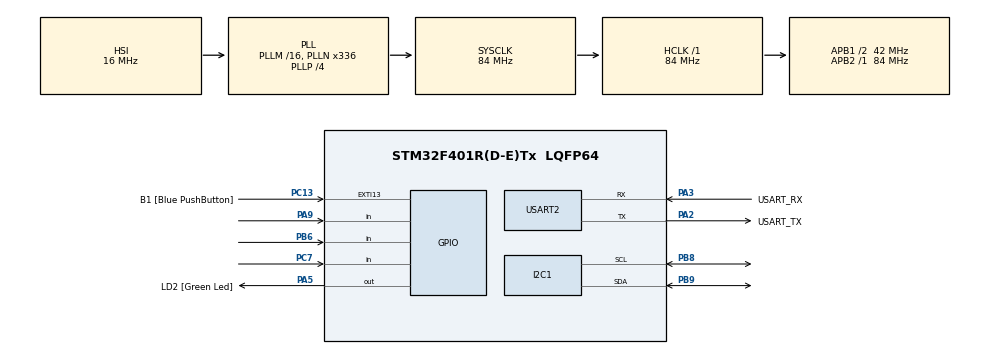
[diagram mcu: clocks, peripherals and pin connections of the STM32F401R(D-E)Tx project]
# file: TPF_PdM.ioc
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Mcu.Family=STM32F4
Mcu.Name=STM32F401R(D-E)Tx
Mcu.Package=LQFP64
NVIC.PriorityGroup=NVIC_PRIORITYGROUP_0
NVIC.USART2_IRQn=true\:0\:0\:false\:false\:true\:true\:true\:true
PA13.GPIO_Label=TMS
PA13.Mode=Serial_Wire
PA13.Signal=SYS_JTMS-SWDIO
PA14.GPIO_Label=TCK
PA14.Mode=Serial_Wire
PA14.Signal=SYS_JTCK-SWCLK
PA2.GPIO_Label=USART_TX
PA2.GPIO_Mode=GPIO_MODE_AF_PP
PA2.GPIO_PuPd=GPIO_NOPULL
PA2.GPIO_Speed=GPIO_SPEED_FREQ_LOW
PA2.Mode=Asynchronous
PA2.Signal=USART2_TX
PA3.GPIO_Label=USART_RX
PA3.GPIO_Mode=GPIO_MODE_AF_PP
PA3.GPIO_PuPd=GPIO_NOPULL
PA3.GPIO_Speed=GPIO_SPEED_FREQ_LOW
PA3.Mode=Asynchronous
PA3.Signal=USART2_RX
PA5.GPIO_Label=LD2 [Green Led]
PA5.GPIO_Mode=GPIO_MODE_OUTPUT_PP
PA5.GPIO_PuPd=GPIO_NOPULL
PA5.GPIO_Speed=GPIO_SPEED_FREQ_LOW
PA5.Signal=GPIO_Output
PA9.GPIO_PuPd=GPIO_PULLUP
PA9.Signal=GPIO_Input
PB3.GPIO_Label=SWO
PB3.Signal=SYS_JTDO-SWO
PB6.GPIO_PuPd=GPIO_PULLUP
PB6.Signal=GPIO_Input
PB8.Mode=I2C
PB8.Signal=I2C1_SCL
PB9.Mode=I2C
PB9.Signal=I2C1_SDA
PC13-ANTI_TAMP.GPIO_Label=B1 [Blue PushButton]
PC13-ANTI_TAMP.GPIO_ModeDefaultEXTI=GPIO_MODE_IT_FALLING
PC13-ANTI_TAMP.GPIO_PuPd=GPIO_NOPULL
PC13-ANTI_TAMP.Signal=GPXTI13
PC14-OSC32_IN.Mode=LSE-External-Oscillator
PC14-OSC32_IN.Signal=RCC_OSC32_IN
PC15-OSC32_OUT.Mode=LSE-External-Oscillator
PC15-OSC32_OUT.Signal=RCC_OSC32_OUT
PC7.GPIO_PuPd=GPIO_PULLUP
PC7.Signal=GPIO_Input
PH0\ -\ OSC_IN.Mode=HSE-External-Clock-Source
PH0\ -\ OSC_IN.Signal=RCC_OSC_IN
PH1\ -\ OSC_OUT.Mode=HSE-External-Clock-Source
PH1\ -\ OSC_OUT.Signal=RCC_OSC_OUT
ProjectManager.HeapSize=0x200
ProjectManager.StackSize=0x400
ProjectManager.TargetToolchain=STM32CubeIDE
RCC.48MHZClocksFreq_Value=48000000
RCC.AHBFreq_Value=84000000
RCC.APB1CLKDivider=RCC_HCLK_DIV2
RCC.APB1Freq_Value=42000000
RCC.APB1TimFreq_Value=84000000
RCC.APB2Freq_Value=84000000
RCC.APB2TimFreq_Value=84000000
RCC.CortexFreq_Value=84000000
RCC.HCLKFreq_Value=84000000
RCC.HSE_VALUE=8000000
RCC.HSI_VALUE=16000000
RCC.PLLN=336
RCC.PLLP=RCC_PLLP_DIV4
RCC.PLLQ=7
RCC.SYSCLKFreq_VALUE=84000000
RCC.SYSCLKSource=RCC_SYSCLKSOURCE_PLLCLK
RCC.VCOOutputFreq_Value=336000000
USART2.VirtualMode=VM_ASYNC
board=NUCLEO-F401RE

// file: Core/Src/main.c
/* USER CODE BEGIN Header */
/**
  ******************************************************************************
  * @file           : main.c
  * @brief          : Main program body
  ******************************************************************************
  * @attention
  *
  * Copyright (c) 2023 STMicroelectronics.
  * All rights reserved.
  *
  * This software is licensed under terms that can be found in the LICENSE file
  * in the root directory of this software component.
  * If no LICENSE file comes with this software, it is provided AS-IS.
  *
  ******************************************************************************
  */
/* USER CODE END Header */
#include "main.h"
#include "API_SSD1306.h"
#include "API_chronos.h"

I2C_HandleTypeDef hi2c1;

UART_HandleTypeDef huart2;

/* USER CODE BEGIN PV */
debounceButton_t btn1, btn2, btn3;  //Declaración de los botones
chronosState_t chronosState;
/* USER CODE END PV */

void SystemClock_Config(void);
static void MX_GPIO_Init(void);
static void MX_USART2_UART_Init(void);
static void MX_I2C1_Init(void);

int main(void)
{

  /* MCU Configuration--------------------------------------------------------*/

  /* Reset of all peripherals, Initializes the Flash interface and the Systick. */
  HAL_Init();

  /* Configure the system clock */
  SystemClock_Config();

  /* Initialize all configured peripherals */
  MX_GPIO_Init();
  MX_USART2_UART_Init();
  MX_I2C1_Init();

	  /* USER CODE BEGIN 2 */

btn1.pin = GPIO_PIN_9; //D8
btn2.pin = GPIO_PIN_7; //D9
btn3.pin = GPIO_PIN_6; //D10
btn1.port = GPIOA;
btn2.port = GPIOC;
btn3.port = GPIOB;

debounceFSM_init(&btn1);
debounceFSM_init(&btn2);
debounceFSM_init(&btn3);
chronosFSM_init();

// Initialize in the first state:
oledInit();
cleanScreen(Black);
oledSetCursor(10, 20);
oledWriteString("CHRONOMETER APP!", White);
updateScreen();
HAL_Delay(1000);

  /* USER CODE END 2 */

  /* Infinite loop */
while (1)
{

  /* USER CODE BEGIN 3 */
	 // Update debounce FSM
	  debounceFSM_update(&btn1);
	  debounceFSM_update(&btn2);
	  debounceFSM_update(&btn3);

	  // Get button states
    bool_t btn1Pressed = readButton(&btn1);
    bool_t btn2Pressed = readButton(&btn2);
    bool_t btn3Pressed = readButton(&btn3);

    // Update chronometer
	  chronosFSM_update(btn1Pressed, btn2Pressed, btn3Pressed);
}
/* USER CODE END 3 */
}

void SystemClock_Config(void)
{
  RCC_OscInitTypeDef RCC_OscInitStruct = {0};
  RCC_ClkInitTypeDef RCC_ClkInitStruct = {0};

  /** Configure the main internal regulator output voltage
  */
  __HAL_RCC_PWR_CLK_ENABLE();
  __HAL_PWR_VOLTAGESCALING_CONFIG(PWR_REGULATOR_VOLTAGE_SCALE2);

  /** Initializes the RCC Oscillators according to the specified parameters
  * in the RCC_OscInitTypeDef structure.
  */
  RCC_OscInitStruct.OscillatorType = RCC_OSCILLATORTYPE_HSI;
  RCC_OscInitStruct.HSIState = RCC_HSI_ON;
  RCC_OscInitStruct.HSICalibrationValue = RCC_HSICALIBRATION_DEFAULT;
  RCC_OscInitStruct.PLL.PLLState = RCC_PLL_ON;
  RCC_OscInitStruct.PLL.PLLSource = RCC_PLLSOURCE_HSI;
  RCC_OscInitStruct.PLL.PLLM = 16;
  RCC_OscInitStruct.PLL.PLLN = 336;
  RCC_OscInitStruct.PLL.PLLP = RCC_PLLP_DIV4;
  RCC_OscInitStruct.PLL.PLLQ = 7;
  if (HAL_RCC_OscConfig(&RCC_OscInitStruct) != HAL_OK)
  {
    Error_Handler();
  }

  /** Initializes the CPU, AHB and APB buses clocks
  */
  RCC_ClkInitStruct.ClockType = RCC_CLOCKTYPE_HCLK|RCC_CLOCKTYPE_SYSCLK
                              |RCC_CLOCKTYPE_PCLK1|RCC_CLOCKTYPE_PCLK2;
  RCC_ClkInitStruct.SYSCLKSource = RCC_SYSCLKSOURCE_PLLCLK;
  RCC_ClkInitStruct.AHBCLKDivider = RCC_SYSCLK_DIV1;
  RCC_ClkInitStruct.APB1CLKDivider = RCC_HCLK_DIV2;
  RCC_ClkInitStruct.APB2CLKDivider = RCC_HCLK_DIV1;

  if (HAL_RCC_ClockConfig(&RCC_ClkInitStruct, FLASH_LATENCY_2) != HAL_OK)
  {
    Error_Handler();
  }
}

static void MX_I2C1_Init(void)
{

  hi2c1.Instance = I2C1;
  hi2c1.Init.ClockSpeed = 100000;
  hi2c1.Init.DutyCycle = I2C_DUTYCYCLE_2;
  hi2c1.Init.OwnAddress1 = 0;
  hi2c1.Init.AddressingMode = I2C_ADDRESSINGMODE_7BIT;
  hi2c1.Init.DualAddressMode = I2C_DUALADDRESS_DISABLE;
  hi2c1.Init.OwnAddress2 = 0;
  hi2c1.Init.GeneralCallMode = I2C_GENERALCALL_DISABLE;
  hi2c1.Init.NoStretchMode = I2C_NOSTRETCH_DISABLE;
  if (HAL_I2C_Init(&hi2c1) != HAL_OK)
  {
    Error_Handler();
  }

}

static void MX_USART2_UART_Init(void)
{

  huart2.Instance = USART2;
  huart2.Init.BaudRate = 115200;
  huart2.Init.WordLength = UART_WORDLENGTH_8B;
  huart2.Init.StopBits = UART_STOPBITS_1;
  huart2.Init.Parity = UART_PARITY_NONE;
  huart2.Init.Mode = UART_MODE_TX_RX;
  huart2.Init.HwFlowCtl = UART_HWCONTROL_NONE;
  huart2.Init.OverSampling = UART_OVERSAMPLING_16;
  if (HAL_UART_Init(&huart2) != HAL_OK)
  {
    Error_Handler();
  }

}

static void MX_GPIO_Init(void)
{
  GPIO_InitTypeDef GPIO_InitStruct = {0};

  /* GPIO Ports Clock Enable */
  __HAL_RCC_GPIOC_CLK_ENABLE();
  __HAL_RCC_GPIOH_CLK_ENABLE();
  __HAL_RCC_GPIOA_CLK_ENABLE();
  __HAL_RCC_GPIOB_CLK_ENABLE();

  /*Configure GPIO pin Output Level */
  HAL_GPIO_WritePin(LD2_GPIO_Port, LD2_Pin, GPIO_PIN_RESET);

  /*Configure GPIO pin : B1_Pin */
  GPIO_InitStruct.Pin = B1_Pin;
  GPIO_InitStruct.Mode = GPIO_MODE_IT_FALLING;
  GPIO_InitStruct.Pull = GPIO_NOPULL;
  HAL_GPIO_Init(B1_GPIO_Port, &GPIO_InitStruct);

  /*Configure GPIO pin : LD2_Pin */
  GPIO_InitStruct.Pin = LD2_Pin;
  GPIO_InitStruct.Mode = GPIO_MODE_OUTPUT_PP;
  GPIO_InitStruct.Pull = GPIO_NOPULL;
  GPIO_InitStruct.Speed = GPIO_SPEED_FREQ_LOW;
  HAL_GPIO_Init(LD2_GPIO_Port, &GPIO_InitStruct);

  /*Configure GPIO pin : PC7 -> BTN 2 */
  GPIO_InitStruct.Pin = GPIO_PIN_7;
  GPIO_InitStruct.Mode = GPIO_MODE_INPUT;
  GPIO_InitStruct.Pull = GPIO_PULLUP;
  HAL_GPIO_Init(GPIOC, &GPIO_InitStruct);

  /*Configure GPIO pin : PA9 -> BTN 1 */
  GPIO_InitStruct.Pin = GPIO_PIN_9;
  GPIO_InitStruct.Mode = GPIO_MODE_INPUT;
  GPIO_InitStruct.Pull = GPIO_PULLUP;
  HAL_GPIO_Init(GPIOA, &GPIO_InitStruct);

  /*Configure GPIO pin : PB6 -> BTN 3*/
  GPIO_InitStruct.Pin = GPIO_PIN_6;
  GPIO_InitStruct.Mode = GPIO_MODE_INPUT;
  GPIO_InitStruct.Pull = GPIO_PULLUP;
  HAL_GPIO_Init(GPIOB, &GPIO_InitStruct);

}

void Error_Handler(void)
{
  __disable_irq();
  while (1)
  {
  }
}
